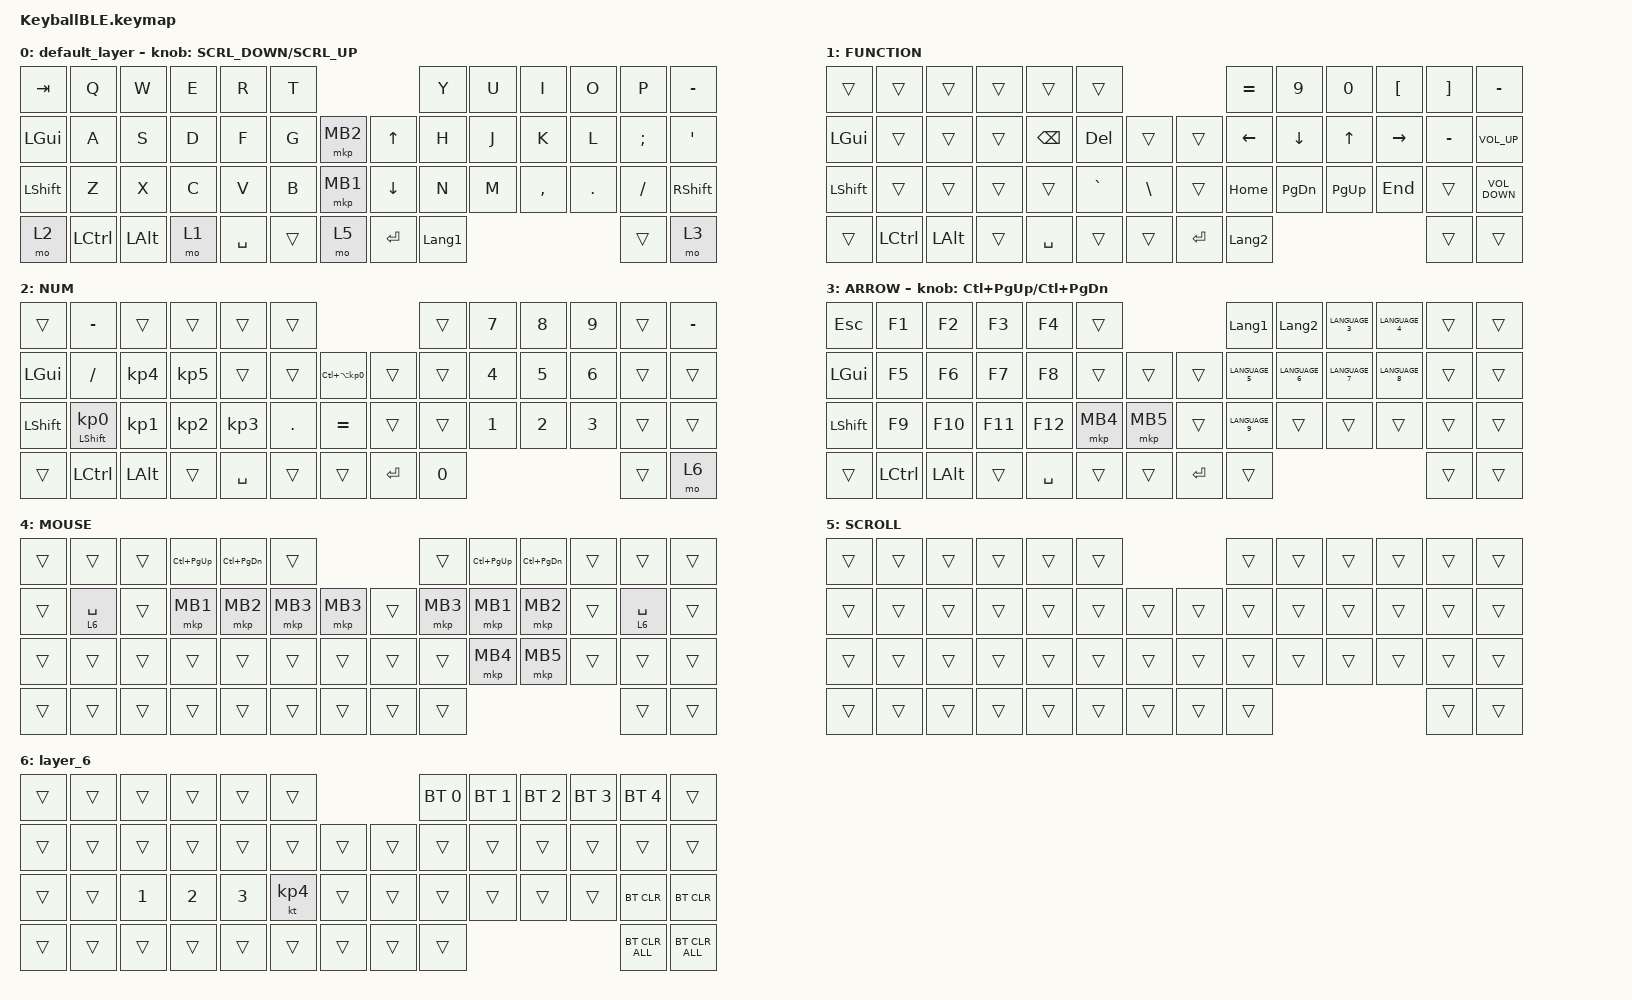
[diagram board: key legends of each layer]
#define ZMK_POINTING_DEFAULT_SCRL_VAL 120    // default: 10

#include <behaviors.dtsi>
#include <dt-bindings/zmk/bt.h>
#include <dt-bindings/zmk/keys.h>
#include <dt-bindings/zmk/pointing.h>

#define MOUSE 4
#define SCROLL 5
#define NUM 6

&mt {
    flavor = "balanced";
    quick-tap-ms = <0>;
};

/ {
    combos {
        compatible = "zmk,combos";

        double_quotation {
            bindings = <&kp DOUBLE_QUOTES>;
            key-positions = <20 21>;
        };
    };

    macros {
        to_layer_0: to_layer_0 {
            compatible = "zmk,behavior-macro-one-param";
            #binding-cells = <1>;
            bindings = <&to 0 &macro_param_1to1 &kp MACRO_PLACEHOLDER>;
            label = "TO_LAYER_0";
        };
    };

    behaviors {
        lt_to_layer_0: lt_to_layer_0 {
            compatible = "zmk,behavior-hold-tap";
            label = "LAYER_TAP_TO_0";
            bindings = <&mo>, <&to_layer_0>;

            #binding-cells = <2>;
            tapping-term-ms = <200>;
        };

        ROTATE: ROTATE {
            compatible = "zmk,behavior-sensor-rotate-var";
            label = "ROTATE";
            #sensor-binding-cells = <2>;
            bindings = <&msc>, <&msc>;

            tap-ms = <20>;
        };
    };

    keymap {
        compatible = "zmk,keymap";

        default_layer {
            bindings = <
&kp TAB    &kp Q      &kp W     &kp E  &kp R      &kp T                               &kp Y           &kp U  &kp I      &kp O    &kp P          &kp MINUS
&kp LGUI   &kp A      &kp S     &kp D  &kp F      &kp G   &mkp MB2    &kp UP_ARROW    &kp H           &kp J  &kp K      &kp L    &kp SEMICOLON  &kp SINGLE_QUOTE
&kp LSHFT  &kp Z      &kp X     &kp C  &kp V      &kp B   &mkp MB1    &kp DOWN_ARROW  &kp N           &kp M  &kp COMMA  &kp DOT  &kp FSLH       &kp RSHFT
&mo 2      &kp LCTRL  &kp LALT  &mo 1  &kp SPACE  &trans  &mo 5       &kp ENTER       &kp LANGUAGE_1                             &trans         &mo 3
            >;

            sensor-bindings = <&ROTATE SCRL_DOWN SCRL_UP>;
        };

        FUNCTION {
            bindings = <
&trans     &trans     &trans    &trans  &trans     &trans                             &kp EQUAL       &kp N9          &kp NUMBER_0  &kp LEFT_BRACKET  &kp RIGHT_BRACKET  &kp MINUS
&kp LGUI   &trans     &trans    &trans  &kp BSPC   &kp DELETE  &trans      &trans     &kp LEFT_ARROW  &kp DOWN_ARROW  &kp UP_ARROW  &kp RIGHT_ARROW   &kp MINUS          &kp C_VOLUME_UP
&kp LSHFT  &trans     &trans    &trans  &trans     &kp GRAVE   &kp BSLH    &trans     &kp HOME        &kp PAGE_DOWN   &kp PAGE_UP   &kp END           &trans             &kp C_VOLUME_DOWN
&trans     &kp LCTRL  &kp LALT  &trans  &kp SPACE  &trans      &trans      &kp ENTER  &kp LANGUAGE_2                                                  &trans             &trans
            >;
        };

        NUM {
            bindings = <
&trans     &kp MINUS                   &trans           &trans           &trans           &trans                                            &trans  &kp N7  &kp N8  &kp N9  &trans  &kp MINUS
&kp LGUI   &kp SLASH                   &kp KP_NUMBER_4  &kp KP_NUMBER_5  &trans           &trans      &kp LC(LA(KP_NUMBER_0))    &trans     &trans  &kp N4  &kp N5  &kp N6  &trans  &trans
&kp LSHFT  &mt LEFT_SHIFT KP_NUMBER_0  &kp KP_NUMBER_1  &kp KP_NUMBER_2  &kp KP_NUMBER_3  &kp PERIOD  &kp EQUAL                  &trans     &trans  &kp N1  &kp N2  &kp N3  &trans  &trans
&trans     &kp LCTRL                   &kp LALT         &trans           &kp SPACE        &trans      &trans                     &kp ENTER  &kp N0                          &trans  &mo 6
            >;
        };

        ARROW {
            bindings = <
&kp ESC    &kp F1     &kp F2    &kp F3   &kp F4     &trans                           &kp LANGUAGE_1  &kp LANGUAGE_2  &kp LANGUAGE_3  &kp LANGUAGE_4  &trans  &trans
&kp LGUI   &kp F5     &kp F6    &kp F7   &kp F8     &trans    &trans      &trans     &kp LANGUAGE_5  &kp LANGUAGE_6  &kp LANGUAGE_7  &kp LANGUAGE_8  &trans  &trans
&kp LSHFT  &kp F9     &kp F10   &kp F11  &kp F12    &mkp MB4  &mkp MB5    &trans     &kp LANGUAGE_9  &trans          &trans          &trans          &trans  &trans
&trans     &kp LCTRL  &kp LALT  &trans   &kp SPACE  &trans    &trans      &kp ENTER  &trans                                                          &trans  &trans
            >;

            sensor-bindings = <&inc_dec_kp LC(PAGE_UP) LC(PAGE_DOWN)>;
        };

        MOUSE {
            bindings = <
&trans  &trans       &trans  &kp LC(PAGE_UP)  &kp LC(PAGE_DOWN)  &trans                        &trans    &kp LC(PAGE_UP)  &kp LC(PAGE_DOWN)  &trans  &trans       &trans
&trans  &lt 6 SPACE  &trans  &mkp MB1         &mkp MB2           &mkp MB3  &mkp MB3    &trans  &mkp MB3  &mkp MB1         &mkp MB2           &trans  &lt 6 SPACE  &trans
&trans  &trans       &trans  &trans           &trans             &trans    &trans      &trans  &trans    &mkp MB4         &mkp MB5           &trans  &trans       &trans
&trans  &trans       &trans  &trans           &trans             &trans    &trans      &trans  &trans                                                &trans       &trans
            >;
        };

        SCROLL {
            bindings = <
&trans  &trans  &trans  &trans  &trans  &trans                    &trans  &trans  &trans  &trans  &trans  &trans
&trans  &trans  &trans  &trans  &trans  &trans  &trans    &trans  &trans  &trans  &trans  &trans  &trans  &trans
&trans  &trans  &trans  &trans  &trans  &trans  &trans    &trans  &trans  &trans  &trans  &trans  &trans  &trans
&trans  &trans  &trans  &trans  &trans  &trans  &trans    &trans  &trans                          &trans  &trans
            >;
        };

        layer_6 {
            bindings = <
&trans  &trans  &trans        &trans        &trans        &trans                       &bt BT_SEL 0  &bt BT_SEL 1  &bt BT_SEL 2  &bt BT_SEL 3  &bt BT_SEL 4    &trans
&trans  &trans  &trans        &trans        &trans        &trans     &trans    &trans  &trans        &trans        &trans        &trans        &trans          &trans
&trans  &trans  &kp NUMBER_1  &kp NUMBER_2  &kp NUMBER_3  &kt KP_N4  &trans    &trans  &trans        &trans        &trans        &trans        &bt BT_CLR      &bt BT_CLR
&trans  &trans  &trans        &trans        &trans        &trans     &trans    &trans  &trans                                                  &bt BT_CLR_ALL  &bt BT_CLR_ALL
            >;
        };
    };
};
